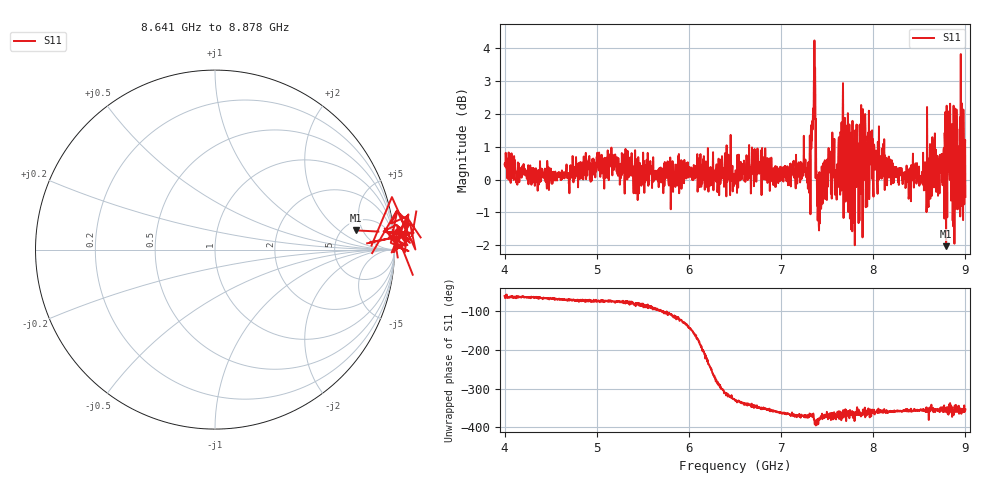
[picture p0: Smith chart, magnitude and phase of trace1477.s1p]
! Created with skrf 1.8.0 (http://scikit-rf.org).
# Hz S RI R 50.0
!freq ReS11 ImS11
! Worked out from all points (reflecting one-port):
!   1601 points, 4 GHz to 9 GHz, reference 50 ohm
!   lowest |S11| = -2.0 dB at 8.791 GHz (marker M1), VSWR 8.60, Z = 322 + j185 ohm
!   phase of S11 starts at -61 deg and turns -293 deg over the sweep
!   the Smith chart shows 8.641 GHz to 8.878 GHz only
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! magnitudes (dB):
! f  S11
! 4 GHz  0.5
! 4.625 GHz  0.0
! 5.25 GHz  -0.2
! 5.875 GHz  -0.1
! 6.5 GHz  0.1
! 6.703 GHz  0.7
! 7.125 GHz  0.2
! 7.294 GHz  0.2
! 7.347 GHz  2.1
! 7.369 GHz  3.4
! 7.4 GHz  -0.8
! 7.412 GHz  -1.5
! 7.509 GHz  -0.2
! 7.609 GHz  0.0
! 7.65 GHz  1.1
! 7.75 GHz  0.0
! 7.784 GHz  -0.4
! 7.891 GHz  0.4
! 7.944 GHz  1.4
! 7.962 GHz  1.5
! 8.375 GHz  -0.1
! 8.612 GHz  0.4
! 8.656 GHz  0.5
! 8.791 GHz  -2.0
! 8.834 GHz  2.3
! 8.875 GHz  0.8
! 8.972 GHz  0.7
! 9 GHz  -0.5
